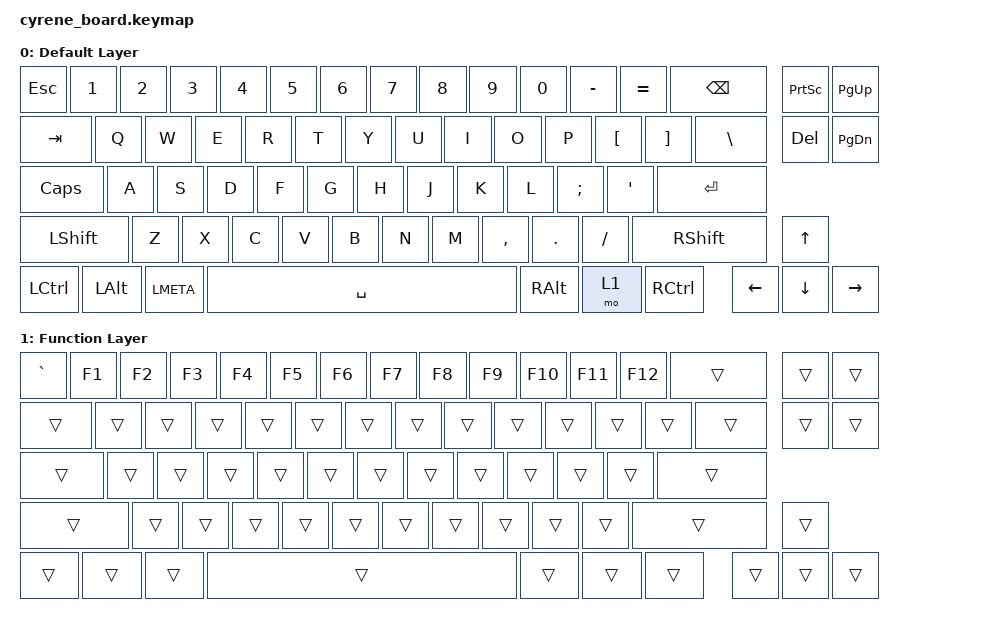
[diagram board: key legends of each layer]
// This file was generated from a template. Edit it to match your keyboard.
// See https://zmk.dev/docs/development/hardware-integration/new-shield for more instructions.

#include <behaviors.dtsi>
#include <dt-bindings/zmk/keys.h>

/ {
    // Define a default keymap here.
    // See https://zmk.dev/docs/development/hardware-integration/new-shield#default-keymap.
    keymap {
        compatible = "zmk,keymap";

        default_layer {
            display-name = "Default Layer";
            bindings = <
                &kp ESC    &kp N1    &kp N2    &kp N3    &kp N4    &kp N5    &kp N6    &kp N7    &kp N8    &kp N9     &kp N0    &kp MINUS  &kp EQUAL   &kp BACKSPACE &kp PRINTSCREEN &kp PG_UP
                &kp TAB    &kp Q     &kp W     &kp E     &kp R     &kp T     &kp Y     &kp U     &kp I     &kp O      &kp P     &kp LBKT   &kp RBKT    &kp BSLH      &kp DEL         &kp PG_DN
                &kp CAPS   &kp A     &kp S     &kp D     &kp F     &kp G     &kp H     &kp J     &kp K     &kp L      &kp SEMI  &kp APOS   &kp RETURN
                &kp LSHIFT &kp Z     &kp X     &kp C     &kp V     &kp B     &kp N     &kp M     &kp COMMA &kp PERIOD &kp FSLH  &kp RSHIFT                           &kp UP
                &kp LCTRL  &kp LALT  &kp LMETA                     &kp SPACE                     &kp RALT  &mo 1      &kp RCTRL                        &kp LEFT      &kp DOWN        &kp RIGHT
            >;
        };

        fn_layer {
            display-name = "Function Layer";
            bindings = <
                &kp GRAVE &kp F1 &kp F2 &kp F3 &kp F4 &kp F5 &kp F6 &kp F7 &kp F8 &kp F9 &kp F10 &kp F11 &kp F12 &trans &trans &trans
                &trans    &trans &trans &trans &trans &trans &trans &trans &trans &trans &trans  &trans  &trans  &trans &trans &trans
                &trans    &trans &trans &trans &trans &trans &trans &trans &trans &trans &trans  &trans  &trans
                &trans    &trans &trans &trans &trans &trans &trans &trans &trans &trans &trans  &trans                 &trans
                &trans    &trans &trans               &trans               &trans &trans &trans                  &trans &trans &trans
            >;
        };
    };
};
